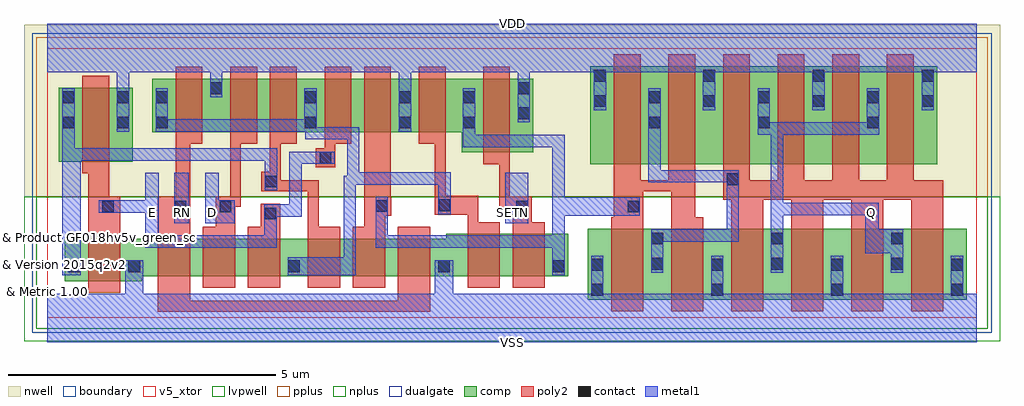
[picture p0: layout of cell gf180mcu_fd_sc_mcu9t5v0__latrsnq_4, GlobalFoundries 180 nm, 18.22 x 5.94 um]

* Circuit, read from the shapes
.subckt gf180mcu_fd_sc_mcu9t5v0__latrsnq_4 D E Q RN SETN VDD VSS
XM1 VSS E n1 VSUBS nfet_05v0 w=0.79u l=0.6u
XM2 n2 RN VSS VSUBS nfet_05v0 w=0.7u l=0.6u
XM3 n3 D n2 VSUBS nfet_05v0 w=0.7u l=0.6u
XM4 n4 E n3 VSUBS nfet_05v0 w=0.7u l=0.6u
XM5 n5 n1 n4 VSUBS nfet_05v0 w=0.7u l=0.6u
XM6 n6 n7 n5 VSUBS nfet_05v0 w=0.7u l=0.6u
XM7 VSS RN n6 VSUBS nfet_05v0 w=0.7u l=0.6u
XM8 n8 n4 VSS VSUBS nfet_05v0 w=0.79u l=0.6u
XM9 n7 SETN n8 VSUBS nfet_05v0 w=0.79u l=0.6u
XM10 n9 n7 VSS VSUBS nfet_05v0 w=1.32u l=0.6u m=2
XM11 Q n9 VSS VSUBS nfet_05v0 w=1.32u l=0.6u m=4
XM12 VDD E n1 n10 pfet_05v0 w=1.38u l=0.5u
XM13 VDD RN n4 n10 pfet_05v0 w=1u l=0.5u
XM14 n11 D VDD n10 pfet_05v0 w=1u l=0.5u
XM15 n4 n1 n11 n10 pfet_05v0 w=1u l=0.5u
XM16 n12 E n4 n10 pfet_05v0 w=1u l=0.5u
XM17 VDD n7 n12 n10 pfet_05v0 w=1u l=0.5u
XM18 n7 n4 VDD n10 pfet_05v0 w=1u l=0.5u
XM19 VDD SETN n7 n10 pfet_05v0 w=1.38u l=0.5u
XM20 n9 n7 VDD n10 pfet_05v0 w=1.83u l=0.5u m=2
XM21 Q n9 VDD n10 pfet_05v0 w=1.83u l=0.5u m=4
.ends

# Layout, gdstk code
import gdstk
lib = gdstk.Library(unit=1e-6, precision=1e-09)
def R(c, l, rs):  # rectangles x0, y0, x1, y1
    for r in rs: c.add(gdstk.rectangle(r[:2], r[2:], *l))
def A(c, l, x, y, w, h, nx, ny, dx, dy):  # array of equal rectangles
    R(c, l, [(x+i*dx, y+j*dy, x+i*dx+w, y+j*dy+h) for i in range(nx) for j in range(ny)])
def P(c, l, *ps):  # polygons
    for p in ps: c.add(gdstk.Polygon(p, *l))
boundary = (0, 0)
nwell = (21, 0)
comp = (22, 0)
poly2 = (30, 0)
pplus = (31, 0)
nplus = (32, 0)
contact = (33, 0)
metal1 = (34, 0)
dualgate = (55, 0)
v5_xtor = (112, 1)
lvpwell = (204, 0)

gf180mcu_fd_sc_mcu9t5v0_ = lib.new_cell('gf180mcu_fd_sc_mcu9t5v0__latrsnq_4')
R(gf180mcu_fd_sc_mcu9t5v0_, boundary, [(0,0,17.36,5.04)])
R(gf180mcu_fd_sc_mcu9t5v0_, nwell, [(-0.43,2.265,17.79,5.47)])
R(gf180mcu_fd_sc_mcu9t5v0_, comp, [(10.09,0.345,17.17,1.665), (10.14,2.87,16.62,4.7), (0.22,2.92,1.6,4.3)])
P(gf180mcu_fd_sc_mcu9t5v0_, comp, [(7.74,3.09),(7.74,3.47),(1.96,3.47),(1.96,4.47),(9.08,4.47),(9.08,3.09)],
  [(0.33,0.69),(0.33,1.48),(7.45,1.48),(7.45,1.57),(9.73,1.57),(9.73,0.78),(1.77,0.78),(1.77,0.69)])
P(gf180mcu_fd_sc_mcu9t5v0_, poly2, [(0.77,0.47),(0.77,2.7),(0.66,2.7),(0.66,4.52),(1.16,4.52),(1.16,2.26),(1.37,2.26),(1.37,0.47)],
  [(2.91,0.56),(2.91,1.7),(3.15,1.7),(3.15,2.26),(3.42,2.26),(3.42,4.69),(3.92,4.69),(3.92,3.25),(3.62,3.25),(3.62,2.08),(3.51,2.08),(3.51,0.56)],
  [(3.75,0.56),(3.75,1.7),(3.99,1.7),(3.99,2.13),(4.35,2.13),(4.35,0.56)],
  [(4.87,0.56),(4.87,2.37),(4,2.37),(4,2.73),(4.16,2.73),(4.16,4.69),(4.66,4.69),(4.66,3.25),(4.36,3.25),(4.36,2.57),(5.07,2.57),(5.07,1.7),(5.47,1.7),(5.47,0.56)],
  [(5.02,2.81),(5.02,3.17),(5.18,3.17),(5.18,4.69),(5.68,4.69),(5.68,3.25),(5.38,3.25),(5.38,2.81)],
  [(5.71,0.56),(5.71,1.7),(5.92,1.7),(5.92,4.69),(6.42,4.69),(6.42,2.24),(6.43,2.24),(6.43,1.91),(6.31,1.91),(6.31,0.56)],
  [(2.07,0.12),(2.07,2.26),(2.4,2.26),(2.4,4.69),(2.9,4.69),(2.9,3.25),(2.67,3.25),(2.67,0.32),(6.55,0.32),(6.55,1.7),(7.15,1.7),(7.15,0.12)],
  [(7.85,0.56),(7.85,1.925),(7.24,1.925),(7.24,3.25),(6.94,3.25),(6.94,4.69),(7.44,4.69),(7.44,2.285),(8.05,2.285),(8.05,1.79),(8.45,1.79),(8.45,0.56)],
  [(8.69,0.56),(8.69,2.06),(8.44,2.06),(8.44,2.87),(8.14,2.87),(8.14,4.69),(8.64,4.69),(8.64,2.26),(9.05,2.26),(9.05,1.79),(9.29,1.79),(9.29,0.56)],
  [(10.53,0.125),(10.53,1.885),(10.58,1.885),(10.58,4.92),(11.08,4.92),(11.08,2.57),(11.6,2.57),(11.6,4.92),(12.1,4.92),(12.1,1.885),(12.25,1.885),(12.25,0.125),(11.65,0.125),(11.65,2.37),(11.13,2.37),(11.13,0.125)],
  [(12.77,0.125),(12.77,2.21),(12.62,2.21),(12.62,4.92),(13.12,4.92),(13.12,2.57),(13.64,2.57),(13.64,4.92),(14.14,4.92),(14.14,2.57),(14.66,2.57),(14.66,4.92),(15.16,4.92),(15.16,2.57),(15.68,2.57),(15.68,4.92),(16.18,4.92),(16.18,2.57),(16.73,2.57),(16.73,0.125),(16.13,0.125),(16.13,2.21),(15.61,2.21),(15.61,0.125),(15.01,0.125),(15.01,2.21),(14.49,2.21),(14.49,0.125),(13.89,0.125),(13.89,2.21),(13.37,2.21),(13.37,0.125)])
R(gf180mcu_fd_sc_mcu9t5v0_, pplus, [(-0.2,2.265,17.56,5.24)])
R(gf180mcu_fd_sc_mcu9t5v0_, nplus, [(-0.2,-0.2,17.56,2.265)])
A(gf180mcu_fd_sc_mcu9t5v0_, contact, 10.16, 0.415, 0.22, 0.22, 4, 2, 2.24, 0.47)
A(gf180mcu_fd_sc_mcu9t5v0_, contact, 11.28, 0.905, 0.22, 0.22, 3, 2, 2.24, 0.47)
A(gf180mcu_fd_sc_mcu9t5v0_, contact, 11.23, 3.54, 0.22, 0.22, 3, 2, 2.04, 0.47)
A(gf180mcu_fd_sc_mcu9t5v0_, contact, 10.21, 3.94, 0.22, 0.22, 4, 2, 2.04, 0.47)
R(gf180mcu_fd_sc_mcu9t5v0_, contact, [(0.4,0.855,0.62,1.075), (1.52,0.855,1.74,1.075), (4.5,0.855,4.72,1.075), (7.3,0.855,7.52,1.075), (9.44,0.855,9.66,1.075), (4.06,1.84,4.28,2.06), (1.03,1.97,1.25,2.19), (2.38,1.97,2.6,2.19), (3.22,1.97,3.44,2.19), (8.76,1.97,8.98,2.19), (10.84,1.97,11.06,2.19), (6.14,1.98,6.36,2.2), (7.31,1.995,7.53,2.215), (4.07,2.44,4.29,2.66), (12.69,2.48,12.91,2.7), (5.09,2.88,5.31,3.1), (0.29,3.54,0.51,3.76), (1.31,3.54,1.53,3.76), (2.03,3.54,2.25,3.76), (4.81,3.54,5.03,3.76), (6.57,3.54,6.79,3.76), (7.77,3.54,7.99,3.76), (8.79,3.71,9.01,3.93), (0.29,4.01,0.51,4.23), (1.31,4.01,1.53,4.23), (2.03,4.01,2.25,4.23), (4.81,4.01,5.03,4.23), (6.57,4.01,6.79,4.23), (7.77,4.01,7.99,4.23), (3.05,4.18,3.27,4.4), (8.79,4.18,9.01,4.4)])
R(gf180mcu_fd_sc_mcu9t5v0_, metal1, [(2.375,1.77,2.65,2.71), (8.55,1.77,8.985,2.71)])
P(gf180mcu_fd_sc_mcu9t5v0_, metal1, [(2.95,1.77),(2.95,2.71),(3.21,2.71),(3.21,2.195),(3.5,2.195),(3.5,1.77)],
  [(0.285,0.795),(0.285,4.29),(0.515,4.29),(0.515,3.17),(4.295,3.17),(4.295,2.38),(4.065,2.38),(4.065,2.94),(0.625,2.94),(0.625,0.795)],
  [(1.83,1.31),(1.83,1.965),(0.97,1.965),(0.97,2.195),(1.83,2.195),(1.83,2.71),(2.09,2.71),(2.09,1.54),(4.055,1.54),(4.055,2.12),(4.525,2.12),(4.525,3.105),(5.37,3.105),(5.37,2.875),(4.755,2.875),(4.755,1.89),(4.285,1.89),(4.285,1.31)],
  [(4.495,0.795),(4.495,1.135),(5.535,1.135),(5.535,2.655),(5.6,2.655),(5.6,3.335),(4.82,3.335),(4.82,3.48),(2.025,3.48),(2.025,4.29),(2.255,4.29),(2.255,3.71),(4.805,3.71),(4.805,4.29),(5.035,4.29),(5.035,3.565),(5.83,3.565),(5.83,2.72),(7.535,2.72),(7.535,1.935),(7.305,1.935),(7.305,2.49),(5.765,2.49),(5.765,0.795)],
  [(9.435,0.795),(9.435,1.31),(6.135,1.31),(6.135,2.26),(6.365,2.26),(6.365,1.54),(9.435,1.54),(9.435,3.19),(7.765,3.19),(7.765,4.29),(7.995,4.29),(7.995,3.42),(9.665,3.42),(9.665,2.25),(11.065,2.25),(11.065,1.91),(9.665,1.91),(9.665,0.795)],
  [(11.275,0.845),(11.275,1.655),(12.685,1.655),(12.685,2.53),(11.225,2.53),(11.225,4.29),(11.455,4.29),(11.455,2.76),(12.915,2.76),(12.915,1.425),(11.505,1.425),(11.505,0.845)],
  [(13.515,0.845),(13.515,3.42),(13.265,3.42),(13.265,4.29),(13.495,4.29),(13.495,3.65),(15.305,3.65),(15.305,4.29),(15.535,4.29),(15.535,3.42),(13.745,3.42),(13.745,2.15),(15.53,2.15),(15.53,1.655),(15.985,1.655),(15.985,0.845),(15.755,0.845),(15.755,1.21),(15.27,1.21),(15.27,1.92),(13.745,1.92),(13.745,0.845)],
  [(0,-0.45),(0,0.45),(1.46,0.45),(1.46,1.08),(1.8,1.08),(1.8,0.45),(7.24,0.45),(7.24,1.08),(7.58,1.08),(7.58,0.45),(10.155,0.45),(10.155,1.165),(10.385,1.165),(10.385,0.45),(12.395,0.45),(12.395,1.165),(12.625,1.165),(12.625,0.45),(14.635,0.45),(14.635,1.165),(14.865,1.165),(14.865,0.45),(16.875,0.45),(16.875,1.165),(17.105,1.165),(17.105,0.45),(17.36,0.45),(17.36,-0.45)],
  [(1.305,3.48),(1.305,4.59),(0,4.59),(0,5.49),(17.36,5.49),(17.36,4.59),(16.555,4.59),(16.555,3.88),(16.325,3.88),(16.325,4.59),(14.515,4.59),(14.515,3.88),(14.285,3.88),(14.285,4.59),(12.475,4.59),(12.475,3.88),(12.245,3.88),(12.245,4.59),(10.435,4.59),(10.435,3.88),(10.205,3.88),(10.205,4.59),(9.015,4.59),(9.015,3.65),(8.785,3.65),(8.785,4.59),(6.795,4.59),(6.795,3.48),(6.565,3.48),(6.565,4.59),(3.275,4.59),(3.275,4.12),(3.045,4.12),(3.045,4.59),(1.535,4.59),(1.535,3.48)])
R(gf180mcu_fd_sc_mcu9t5v0_, dualgate, [(-0.28,-0.28,17.64,5.32)])
R(gf180mcu_fd_sc_mcu9t5v0_, v5_xtor, [(0,0,17.36,5.04)])
R(gf180mcu_fd_sc_mcu9t5v0_, lvpwell, [(-0.43,-0.43,17.79,2.265)])
gf180mcu_fd_sc_mcu9t5v0_.add(gdstk.Label('D', (3.08,1.96), layer=34, texttype=10))
gf180mcu_fd_sc_mcu9t5v0_.add(gdstk.Label('E', (1.96,1.96), layer=34, texttype=10))
gf180mcu_fd_sc_mcu9t5v0_.add(gdstk.Label('Q', (15.4,1.96), layer=34, texttype=10))
gf180mcu_fd_sc_mcu9t5v0_.add(gdstk.Label('RN', (2.52,1.96), layer=34, texttype=10))
gf180mcu_fd_sc_mcu9t5v0_.add(gdstk.Label('SETN', (8.68,1.96), layer=34, texttype=10))
gf180mcu_fd_sc_mcu9t5v0_.add(gdstk.Label('VDD', (8.68,5.49), layer=34, texttype=10))
gf180mcu_fd_sc_mcu9t5v0_.add(gdstk.Label('VSS', (8.68,-0.45), layer=34, texttype=10))
gf180mcu_fd_sc_mcu9t5v0_.add(gdstk.Label('& Vendor GLOBALFOUNDRIES', (0,2), layer=63, texttype=63))
gf180mcu_fd_sc_mcu9t5v0_.add(gdstk.Label('& Product GF018hv5v_green_sc9', (0,1.5), layer=63, texttype=63))
gf180mcu_fd_sc_mcu9t5v0_.add(gdstk.Label('& Version 2015q2v2', (0,1), layer=63, texttype=63))
gf180mcu_fd_sc_mcu9t5v0_.add(gdstk.Label('& Metric 1.00', (0,0.5), layer=63, texttype=63))

lib.write_gds('gf180mcu_fd_sc_mcu9t5v0__latrsnq_4.gds')
